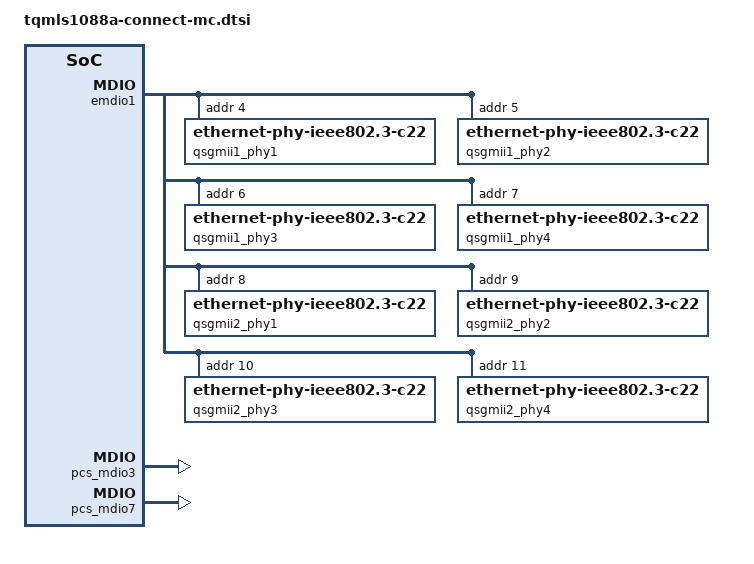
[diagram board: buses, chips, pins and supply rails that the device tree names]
/ {
	aliases {
		dpmac1 = &dpmac1;
		dpmac2 = &dpmac2;
		dpmac3 = &dpmac3;
		dpmac4 = &dpmac4;
		dpmac5 = &dpmac5;
		dpmac6 = &dpmac6;
		dpmac7 = &dpmac7;
		dpmac8 = &dpmac8;
		dpmac9 = &dpmac9;
		dpmac10 = &dpmac10;

		qsgmii-s1-p1 = &qsgmii1_phy1;
		qsgmii-s1-p2 = &qsgmii1_phy2;
		qsgmii-s1-p3 = &qsgmii1_phy3;
		qsgmii-s1-p4 = &qsgmii1_phy4;
		qsgmii-s2-p1 = &qsgmii2_phy1;
		qsgmii-s2-p2 = &qsgmii2_phy2;
		qsgmii-s2-p3 = &qsgmii2_phy3;
		qsgmii-s2-p4 = &qsgmii2_phy4;
	};
};

&dpmac1 {
	status = "disabled";
};

&dpmac2 {
	phy-connection-type = "xgmii";

	fixed-link {
		speed = <10000>;
		full-duplex;
	};
};

&dpmac3 {
	phy-handle = <&qsgmii2_phy1>;
	phy-connection-type = "qsgmii";
	managed = "in-band-status";
	pcs-handle = <&pcs3_0>;
};

&dpmac4 {
	phy-handle = <&qsgmii2_phy2>;
	phy-connection-type = "qsgmii";
	managed = "in-band-status";
	pcs-handle = <&pcs3_1>;
};

&dpmac5 {
	phy-handle = <&qsgmii2_phy3>;
	phy-connection-type = "qsgmii";
	managed = "in-band-status";
	pcs-handle = <&pcs3_2>;
};

&dpmac6 {
	phy-handle = <&qsgmii2_phy4>;
	phy-connection-type = "qsgmii";
	managed = "in-band-status";
	pcs-handle = <&pcs3_3>;
};

&dpmac7 {
	phy-handle = <&qsgmii1_phy1>;
	phy-connection-type = "qsgmii";
	managed = "in-band-status";
	pcs-handle = <&pcs7_0>;
};

&dpmac8 {
	phy-handle = <&qsgmii1_phy2>;
	phy-connection-type = "qsgmii";
	managed = "in-band-status";
	pcs-handle = <&pcs7_1>;
};

&dpmac9 {
	phy-handle = <&qsgmii1_phy3>;
	phy-connection-type = "qsgmii";
	managed = "in-band-status";
	pcs-handle = <&pcs7_2>;
};

&dpmac10 {
	phy-handle = <&qsgmii1_phy4>;
	phy-connection-type = "qsgmii";
	managed = "in-band-status";
	pcs-handle = <&pcs7_3>;
};

&emdio1 {
	status = "okay";

	qsgmii1_phy1: ethernet-phy@4 {
		compatible = "ethernet-phy-ieee802.3-c22";
		reg = <0x4>;
		media = "fiber";
	};

	qsgmii1_phy2: ethernet-phy@5 {
		compatible = "ethernet-phy-ieee802.3-c22";
		reg = <0x5>;
		media = "fiber";
	};

	qsgmii1_phy3: ethernet-phy@6 {
		compatible = "ethernet-phy-ieee802.3-c22";
		reg = <0x6>;
		media = "copper";
	};

	qsgmii1_phy4: ethernet-phy@7 {
		compatible = "ethernet-phy-ieee802.3-c22";
		reg = <0x7>;
		media = "copper";
	};

	qsgmii2_phy1: ethernet-phy@8 {
		compatible = "ethernet-phy-ieee802.3-c22";
		reg = <0x8>;
		media = "fiber";
	};

	qsgmii2_phy2: ethernet-phy@9 {
		compatible = "ethernet-phy-ieee802.3-c22";
		reg = <0x9>;
		media = "fiber";
	};

	qsgmii2_phy3: ethernet-phy@a {
		compatible = "ethernet-phy-ieee802.3-c22";
		reg = <0xa>;
		media = "fiber";
	};

	qsgmii2_phy4: ethernet-phy@b {
		compatible = "ethernet-phy-ieee802.3-c22";
		reg = <0xb>;
		media = "fiber";
	};
};

&pcs_mdio3 {
	status = "okay";
};

&pcs_mdio7 {
	status = "okay";
};
